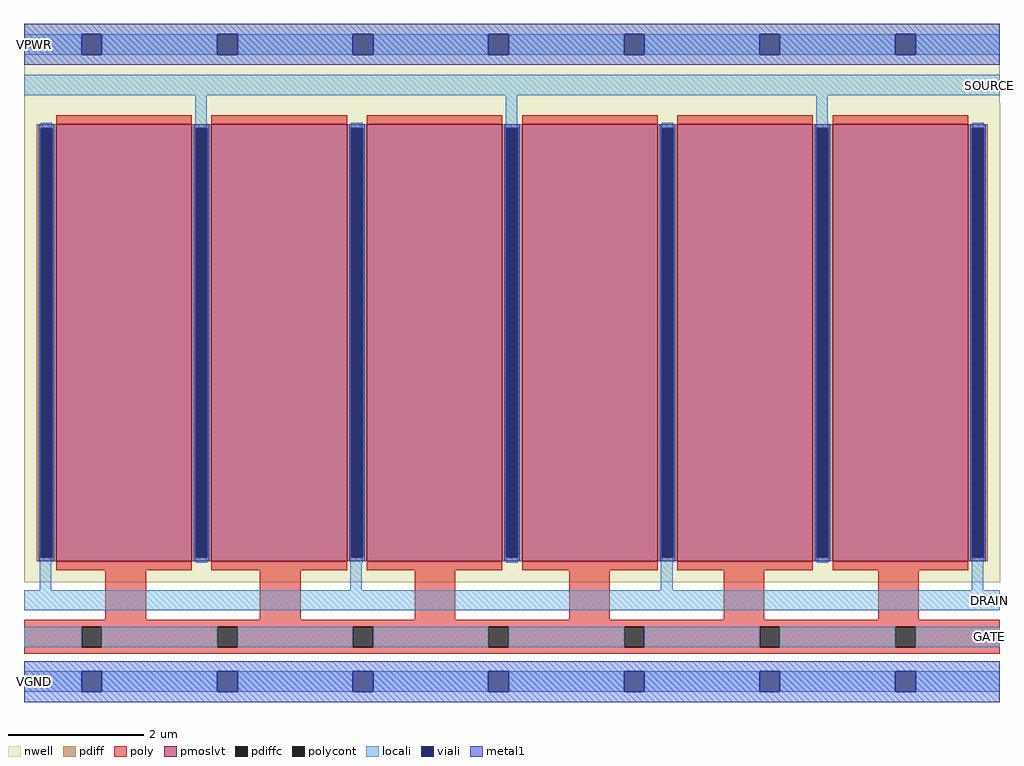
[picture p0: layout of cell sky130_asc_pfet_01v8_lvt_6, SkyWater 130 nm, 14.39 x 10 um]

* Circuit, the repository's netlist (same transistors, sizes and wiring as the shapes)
* NGSPICE file created from sky130_asc_pfet_01v8_lvt_6.ext - technology: sky130A

.subckt sky130_asc_pfet_01v8_lvt_6 GATE SOURCE DRAIN VGND VPWR
X0 SOURCE GATE DRAIN VPWR sky130_fd_pr__pfet_01v8_lvt ad=5.6115e+12p pd=4.044e+07u as=7.482e+12p ps=5.392e+07u w=6.45e+06u l=2e+06u
X1 SOURCE GATE DRAIN VPWR sky130_fd_pr__pfet_01v8_lvt ad=0p pd=0u as=0p ps=0u w=6.45e+06u l=2e+06u
X2 DRAIN GATE SOURCE VPWR sky130_fd_pr__pfet_01v8_lvt ad=0p pd=0u as=0p ps=0u w=6.45e+06u l=2e+06u
X3 SOURCE GATE DRAIN VPWR sky130_fd_pr__pfet_01v8_lvt ad=0p pd=0u as=0p ps=0u w=6.45e+06u l=2e+06u
X4 DRAIN GATE SOURCE VPWR sky130_fd_pr__pfet_01v8_lvt ad=0p pd=0u as=0p ps=0u w=6.45e+06u l=2e+06u
X5 DRAIN GATE SOURCE VPWR sky130_fd_pr__pfet_01v8_lvt ad=0p pd=0u as=0p ps=0u w=6.45e+06u l=2e+06u
.ends

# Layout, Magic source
magic
tech sky130A
magscale 1 2
<< nwell >>
rect 130 1707 3008 1940
rect 130 1000 3009 1707
rect 131 293 3009 1000
<< pmoslvt >>
rect 225 355 625 1645
rect 683 355 1083 1645
rect 1141 355 1541 1645
rect 1599 355 1999 1645
rect 2057 355 2457 1645
rect 2515 355 2915 1645
<< pdiff >>
rect 167 1633 225 1645
rect 167 367 179 1633
rect 213 367 225 1633
rect 167 355 225 367
rect 625 1633 683 1645
rect 625 367 637 1633
rect 671 367 683 1633
rect 625 355 683 367
rect 1083 1633 1141 1645
rect 1083 367 1095 1633
rect 1129 367 1141 1633
rect 1083 355 1141 367
rect 1541 1633 1599 1645
rect 1541 367 1553 1633
rect 1587 367 1599 1633
rect 1541 355 1599 367
rect 1999 1633 2057 1645
rect 1999 367 2011 1633
rect 2045 367 2057 1633
rect 1999 355 2057 367
rect 2457 1633 2515 1645
rect 2457 367 2469 1633
rect 2503 367 2515 1633
rect 2457 355 2515 367
rect 2915 1633 2973 1645
rect 2915 367 2927 1633
rect 2961 367 2973 1633
rect 2915 355 2973 367
<< pdiffc >>
rect 179 367 213 1633
rect 637 367 671 1633
rect 1095 367 1129 1633
rect 1553 367 1587 1633
rect 2011 367 2045 1633
rect 2469 367 2503 1633
rect 2927 367 2961 1633
<< poly >>
rect 225 1645 625 1671
rect 683 1645 1083 1671
rect 1141 1645 1541 1671
rect 1599 1645 1999 1671
rect 2057 1645 2457 1671
rect 2515 1645 2915 1671
rect 225 329 625 355
rect 683 329 1083 355
rect 1141 329 1541 355
rect 1599 329 1999 355
rect 2057 329 2457 355
rect 2515 329 2915 355
rect 370 182 490 329
rect 826 182 946 329
rect 1282 182 1402 329
rect 1738 182 1858 329
rect 2194 182 2314 329
rect 2650 182 2770 329
rect 130 162 3008 182
rect 130 102 300 162
rect 360 102 700 162
rect 760 102 1100 162
rect 1160 102 1500 162
rect 1560 102 1900 162
rect 1960 102 2300 162
rect 2360 102 2700 162
rect 2760 102 3008 162
rect 130 82 3008 102
<< polycont >>
rect 300 102 360 162
rect 700 102 760 162
rect 1100 102 1160 162
rect 1500 102 1560 162
rect 1900 102 1960 162
rect 2300 102 2360 162
rect 2700 102 2760 162
<< locali >>
rect 130 1850 300 1910
rect 360 1850 700 1910
rect 760 1850 1100 1910
rect 1160 1850 1500 1910
rect 1560 1850 1900 1910
rect 1960 1850 2300 1910
rect 2360 1850 2700 1910
rect 2760 1850 3008 1910
rect 130 1730 3008 1790
rect 635 1649 669 1730
rect 1551 1649 1585 1730
rect 2467 1649 2501 1730
rect 179 1633 213 1649
rect 177 367 179 372
rect 635 1633 671 1649
rect 635 1626 637 1633
rect 177 351 213 367
rect 1095 1633 1129 1649
rect 637 351 671 367
rect 1093 367 1095 372
rect 1551 1633 1587 1649
rect 1551 1626 1553 1633
rect 1093 351 1129 367
rect 2011 1633 2045 1649
rect 1553 351 1587 367
rect 2009 367 2011 372
rect 2467 1633 2503 1649
rect 2467 1626 2469 1633
rect 2009 351 2045 367
rect 2927 1633 2961 1649
rect 2469 351 2503 367
rect 2925 367 2927 372
rect 2925 351 2961 367
rect 177 270 211 351
rect 1093 270 1127 351
rect 2009 270 2043 351
rect 2925 270 2959 351
rect 130 210 3008 270
rect 130 102 300 162
rect 360 102 700 162
rect 760 102 1100 162
rect 1160 102 1500 162
rect 1560 102 1900 162
rect 1960 102 2300 162
rect 2360 102 2700 162
rect 2760 102 3008 162
rect 130 -30 300 30
rect 360 -30 700 30
rect 760 -30 1100 30
rect 1160 -30 1500 30
rect 1560 -30 1900 30
rect 1960 -30 2300 30
rect 2360 -30 2700 30
rect 2760 -30 3008 30
<< viali >>
rect 300 1850 360 1910
rect 700 1850 760 1910
rect 1100 1850 1160 1910
rect 1500 1850 1560 1910
rect 1900 1850 1960 1910
rect 2300 1850 2360 1910
rect 2700 1850 2760 1910
rect 179 367 213 1633
rect 637 367 671 1633
rect 1095 367 1129 1633
rect 1553 367 1587 1633
rect 2011 367 2045 1633
rect 2469 367 2503 1633
rect 2927 367 2961 1633
rect 300 -30 360 30
rect 700 -30 760 30
rect 1100 -30 1160 30
rect 1500 -30 1560 30
rect 1900 -30 1960 30
rect 2300 -30 2360 30
rect 2700 -30 2760 30
<< metal1 >>
rect 130 1910 3008 1940
rect 130 1850 300 1910
rect 360 1850 700 1910
rect 760 1850 1100 1910
rect 1160 1850 1500 1910
rect 1560 1850 1900 1910
rect 1960 1850 2300 1910
rect 2360 1850 2700 1910
rect 2760 1850 3008 1910
rect 130 1820 3008 1850
rect 173 1633 219 1645
rect 173 367 179 1633
rect 213 367 219 1633
rect 173 355 219 367
rect 631 1633 677 1645
rect 631 367 637 1633
rect 671 367 677 1633
rect 631 355 677 367
rect 1089 1633 1135 1645
rect 1089 367 1095 1633
rect 1129 367 1135 1633
rect 1089 355 1135 367
rect 1547 1633 1593 1645
rect 1547 367 1553 1633
rect 1587 367 1593 1633
rect 1547 355 1593 367
rect 2005 1633 2051 1645
rect 2005 367 2011 1633
rect 2045 367 2051 1633
rect 2005 355 2051 367
rect 2463 1633 2509 1645
rect 2463 367 2469 1633
rect 2503 367 2509 1633
rect 2463 355 2509 367
rect 2921 1633 2967 1645
rect 2921 367 2927 1633
rect 2961 367 2967 1633
rect 2921 355 2967 367
rect 130 30 3008 60
rect 130 -30 300 30
rect 360 -30 700 30
rect 760 -30 1100 30
rect 1160 -30 1500 30
rect 1560 -30 1900 30
rect 1960 -30 2300 30
rect 2360 -30 2700 30
rect 2760 -30 3008 30
rect 130 -60 3008 -30
<< labels >>
flabel metal1 130 1850 190 1910 1 FreeSans 480 0 0 0 VPWR
port 4 n power bidirectional
flabel space 120 1850 180 1910 1 FreeSans 480 0 0 0 VPB
flabel metal1 130 -30 190 30 1 FreeSans 480 0 0 0 VGND
port 5 n ground bidirectional
flabel locali 2948 1730 3008 1790 1 FreeSans 480 0 0 0 SOURCE
port 2 n signal bidirectional
flabel locali 2948 210 3008 270 1 FreeSans 480 0 0 0 DRAIN
port 3 n signal bidirectional
flabel locali 2948 102 3008 162 1 FreeSans 480 0 0 0 GATE
port 1 n signal bidirectional
<< properties >>
string FIXED_BBOX 0 0 3395 1880
string LEFclass CORE
string LEFsite unitasc
<< end >>
